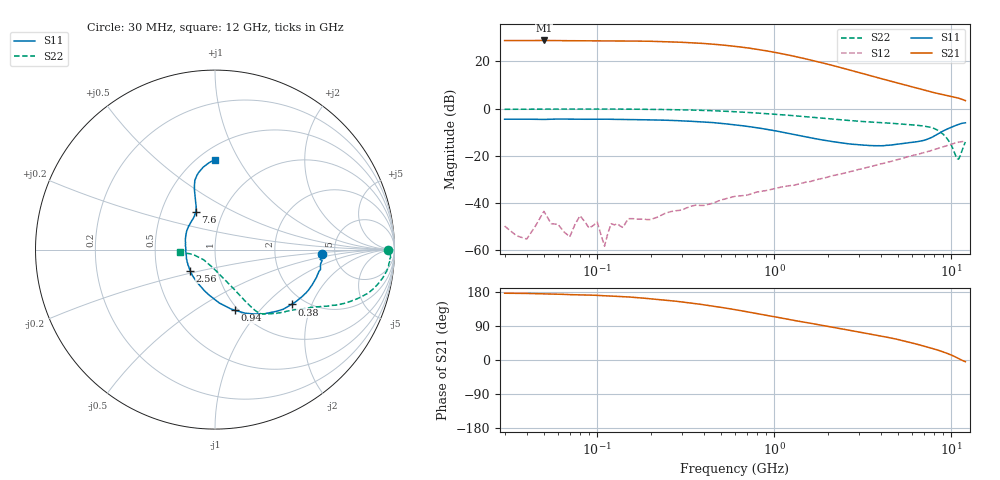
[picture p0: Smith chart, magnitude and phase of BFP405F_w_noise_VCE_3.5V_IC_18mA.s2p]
! Infineon Technologies  Discrete & RF Semiconductors
! BFP405F
! VCE =  3.5 V,  IC =  18 mA
! Common Emitter S-Parameters:  Nov 2015
# GHz  S  MA  R  50
!  f  S11  S21  S12  S22
! GHz  MAG  ANG  MAG  ANG  MAG  ANG  MAG  ANG
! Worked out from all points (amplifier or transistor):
!   239 points, 30 MHz to 12 GHz, reference 50 ohm
!   highest |S21| = 28.9 dB at 50 MHz (marker M1)
!   |S21| within 3 dB of that: start of sweep to 681.5 MHz
!   unconditionally stable (mu >= 1): 1.829 GHz to end of sweep
!   at 300 MHz: K = 0.29, MSG = 35.6 dB, |S12| = -43.1 dB
!   at 1.88 GHz: K = 1.02, MAG = 23.7 dB, |S12| = -29.6 dB
!   at 12 GHz: K = 1.37, MAG = 5.0 dB, |S12| = -13.8 dB
!   lowest NFmin = 2.14 dB at 450 MHz
!   S11 on the Smith chart (normalised r, x): 30 MHz: 3.92, -0.26; 380 MHz: 1.72, -1.45; 940 MHz: 0.96, -0.74; 2.56 GHz: 0.74, -0.18; 7.6 GHz: 0.74, +0.33; 12 GHz: 0.60, +0.80
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0.03  0.5948 -2.1  27.81 176.2  0.0032 139.2  0.9658 0.0
0.04  0.5963 -3.6  27.8 175.7  0.0017 67.0  0.9734 -0.7
0.05  0.5889 -5.4  27.96 174.5  0.0066 -27.0  0.9737 -1.8
0.07  0.5959 -7.1  27.66 172.5  0.0019 122.7  0.9773 -1.9
0.085  0.5939 -8.2  27.54 171.6  0.004 79.0  0.9778 -2.7
0.1  0.597 -9.8  27.41 170.5  0.0039 95.2  0.9735 -3.5
0.11  0.598 -10.8  27.38 169.6  0.0012 15.6  0.9788 -3.6
0.12  0.5922 -11.7  27.33 168.9  0.0036 51.6  0.9758 -3.9
0.145  0.5873 -14.4  27.26 166.9  0.0038 104.7  0.972 -5.1
0.24  0.5675 -23.4  26.29 158.3  0.0059 78.7  0.9557 -8.4
0.3  0.55 -28.7  25.58 153.3  0.007 79.6  0.941 -10.4
0.38  0.5245 -35.6  24.39 147.2  0.0088 81.9  0.9204 -12.7
0.6  0.4521 -52.2  20.97 132.7  0.0137 76.3  0.8583 -17.8
0.7  0.4209 -58.5  19.55 127.3  0.0145 72.9  0.8311 -19.5
0.94  0.3546 -72.0  16.39 116.4  0.0189 71.6  0.7733 -22.9
1.3  0.2802 -89.7  12.86 104.2  0.0237 71.8  0.7046 -26.5
1.64  0.2367 -104.4  10.54 96.0  0.0291 71.1  0.6554 -29.1
2.56  0.181 -139.9  6.873 79.9  0.0438 69.2  0.5651 -36.2
4.5  0.168 169.0  3.853 58.6  0.0748 63.7  0.4899 -46.6
7.6  0.2371 116.9  2.283 32.1  0.1268 51.1  0.401 -56.8
10.8  0.4514 100.0  1.693 5.7  0.1906 32.5  0.0865 -117.5
12  0.4989 90.0  1.479 -4.5  0.2051 25.3  0.1954 -175.3
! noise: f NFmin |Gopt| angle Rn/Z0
0.45  2.14  0.04  -3  0.51
0.9  2.16  0.03  -6  0.3
1.5  2.2  0.02  -39  0.2
1.9  2.26  0.02  -85  0.26
2.4  2.41  0.02  -104  0.39
3  2.5  0.04  -109  0.06
3.5  2.58  0.06  -113  0.22
4.5  2.8  0.12  -102  0.4
5.5  3.09  0.21  -88  0.41
